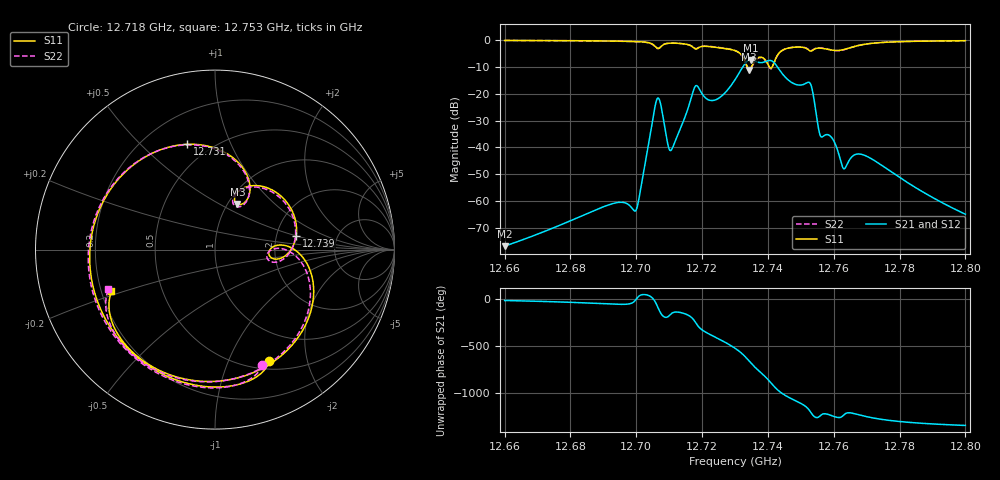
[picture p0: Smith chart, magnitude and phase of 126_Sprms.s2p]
! TOUCHSTONE file generated by CST MICROWAVE STUDIO
! Date and time: Wed Jul 31 17:09:34 2024
! Project name: WaveGuide_BPF-Ver4.1_U-shape_Ku_T3_C4_CWA_2.cst
! Parameters = {cavity_h=16; cavity_l0=10; cavity_l1=15.1668; cavity_l2=16.8086; cavity_l3=17.0632; cavity_l4=17.3078; cavity_l5=17.117; cavity_l6=17.5871; cavity_r=2.5; cavity_screw_l=0.5; cavity_screw_r=1.5; cavity_w=8; iris_h00=0; iris_h01=8.832; iris_h112=0; iris_h12=5.5862; iris_h211=3.6599; ir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
! Header version: 2018
! Port assignment regex: !\s*Touchstone port\s*([0-9]+)\s*=\s*(CST MWS port|CST DS port)\s*([0-9]+|Zmin|Zmax)\s*\(\"(.*)\"\)(\s*mode\s*([0-9]+))?.*
! Touchstone port assignment:
! Touchstone port 1 = CST MWS port 1 ("")
! Touchstone port 2 = CST MWS port 2 ("")
# GHz S RI R 50
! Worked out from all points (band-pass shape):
!   5001 points, 12.66 GHz to 12.8 GHz, reference 50 ohm
!   highest |S21| = -7.37 dB at 12.735 GHz (marker M1); lowest = -76.8 dB at 12.66 GHz (marker M2)
!   |S21| within 3 dB of the highest: 12.73218 GHz to 12.7431 GHz (10.92 MHz wide, 0.0857 % of centre)
!   lowest |S11| = -11.0 dB at 12.734 GHz (marker M3), VSWR 1.79, Z = 55.4 + j30.5 ohm
!   |S11| at or under -10 dB: 12.73374 GHz to 12.73501 GHz (1.272 MHz wide, 0.00999 % of centre); 12.74047 GHz to 12.74129 GHz (824.4 kHz wide, 0.00647 % of centre)
!   |S22| runs from -11.5 to -0.1 dB; largest |S21 - S12| = 1e-09
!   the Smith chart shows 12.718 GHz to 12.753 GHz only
!   S11 on the Smith chart (normalised r, x): 12.718 GHz: 0.60, -1.42; 12.731 GHz: 0.38, +0.70; 12.739 GHz: 2.58, +0.51; 12.753 GHz: 0.24, -0.18
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12.66  0.2316 0.9569  0.000137 -4.29e-05  0.000137 -4.29e-05  0.2412 0.9544
12.68335  0.5753 0.7829  0.000395 -0.000346  0.000395 -0.000346  0.5901 0.7711
12.69984  0.8768 0.3338  0.000655 -9.92e-05  0.000655 -9.92e-05  0.8869 0.3015
12.70668  0.6978 0.0233  -0.0132 -0.0821  -0.0132 -0.0821  0.6978 0.0109
12.71054  0.8604 -0.1715  -0.00828 -0.00291  -0.00828 -0.00291  0.8495 -0.2174
12.71838  0.3001 -0.6213  0.00319 0.1416  0.00319 0.1416  0.2622 -0.6442
12.7258  -0.6738 -0.2283  0.0148 -0.0878  0.0148 -0.0878  -0.686 -0.2172
12.73  -0.3265 0.5473  -0.1773 -0.0425  -0.1773 -0.0425  -0.3326 0.5449
12.73078  -0.1543 0.5866  -0.2166 0.022  -0.2166 0.022  -0.1598 0.5837
12.73434  0.1248 0.2537  0.245 0.3471  0.245 0.3471  0.116 0.2409
12.73473  0.1094 0.2742  0.331 0.2717  0.331 0.2717  0.0992 0.2626
12.73868  0.4524 0.0783  -0.0201 -0.3863  -0.0201 -0.3863  0.4464 0.0602
12.74263  0.4872 -0.0407  -0.1636 0.2906  -0.1636 0.2906  0.4784 -0.0675
12.74742  0.0716 -0.7263  0.157 0.0274  0.157 0.0274  0.0249 -0.7331
12.75299  -0.5783 -0.2322  -0.0926 -0.1181  -0.0926 -0.1181  -0.595 -0.2203
12.75335  -0.5905 -0.2173  -0.1066 -0.0702  -0.1066 -0.0702  -0.6067 -0.2051
12.7559  -0.6755 0.213  -0.0162 -0.00399  -0.0162 -0.00399  -0.682 0.2182
12.75923  -0.0727 0.65  -0.015 -0.00435  -0.015 -0.00435  -0.083 0.6489
12.76371  0.681 -0.0703  -0.00343 -0.00273  -0.00343 -0.00273  0.6715 -0.0876
12.76867  0.1736 -0.8023  -0.00713 -0.00181  -0.00713 -0.00181  0.1339 -0.8102
12.77668  -0.5948 -0.6979  -0.00308 0.00219  -0.00308 0.00219  -0.6227 -0.6758
12.8  -0.9711 0.0659  3.02e-06 0.000567  3.02e-06 0.000567  -0.9706 0.0815
